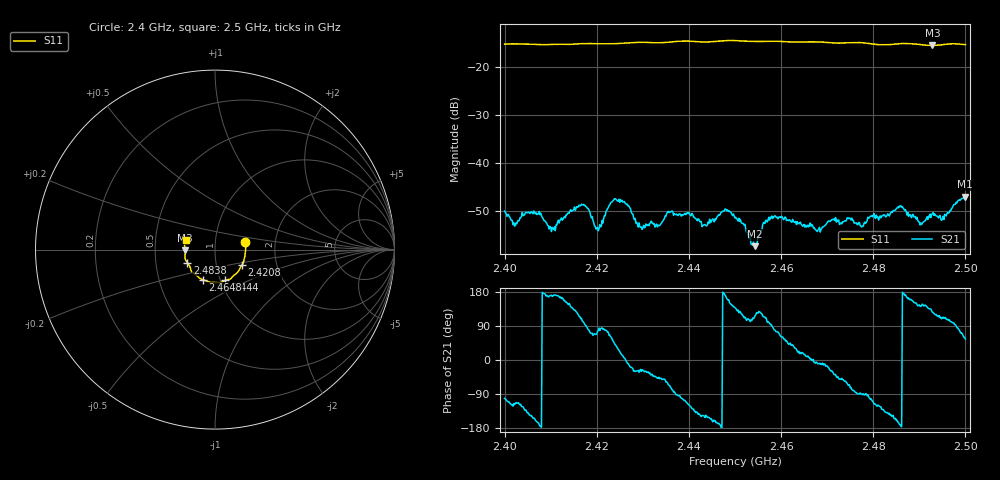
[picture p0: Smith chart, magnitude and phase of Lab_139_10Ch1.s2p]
# Hz S RI R 50
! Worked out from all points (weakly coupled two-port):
!   601 points, 2.4 GHz to 2.5 GHz, reference 50 ohm
!   highest |S21| = -47.03 dB at 2.4998 GHz (marker M1); lowest = -57.3 dB at 2.4543 GHz (marker M2)
!   lowest |S11| = -15.6 dB at 2.4928 GHz (marker M3), VSWR 1.40, Z = 35.7 - j0.318 ohm
!   |S11| at or under -10 dB: start of sweep to end of sweep
!   S12 and S22 are empty: the file has one direction only
!   S11 on the Smith chart (normalised r, x): 2.4 GHz: 1.39, +0.12; 2.4208 GHz: 1.33, -0.24; 2.444 GHz: 1.05, -0.37; 2.4648 GHz: 0.83, -0.29; 2.4838 GHz: 0.73, -0.11; 2.5 GHz: 0.72, +0.08
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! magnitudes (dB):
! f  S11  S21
! 2.4 GHz  -15.3  -50.0
! 2.4023 GHz  -15.3  -53.0
! 2.4073 GHz  -15.4  -50.6
! 2.4105 GHz  -15.4  -53.6
! 2.4167 GHz  -15.2  -48.6
! 2.4208 GHz  -15.2  -53.3
! 2.4243 GHz  -15.2  -47.7
! 2.4295 GHz  -14.9  -53.4
! 2.4333 GHz  -15.0  -52.9
! 2.436 GHz  -14.9  -50.2
! 2.444 GHz  -14.9  -52.9
! 2.4478 GHz  -14.6  -49.6
! 2.45 GHz  -14.6  -51.4
! 2.4543 GHz  -14.7  -57.3
! 2.4582 GHz  -14.7  -51.6
! 2.4648 GHz  -14.9  -53.1
! 2.4667 GHz  -14.8  -52.8
! 2.4833 GHz  -15.4  -50.8
! 2.4838 GHz  -15.4  -50.3
! 2.4928 GHz  -15.6  -50.5
! 2.4998 GHz  -15.4  -47.0
! 2.5 GHz  -15.4  -47.6
